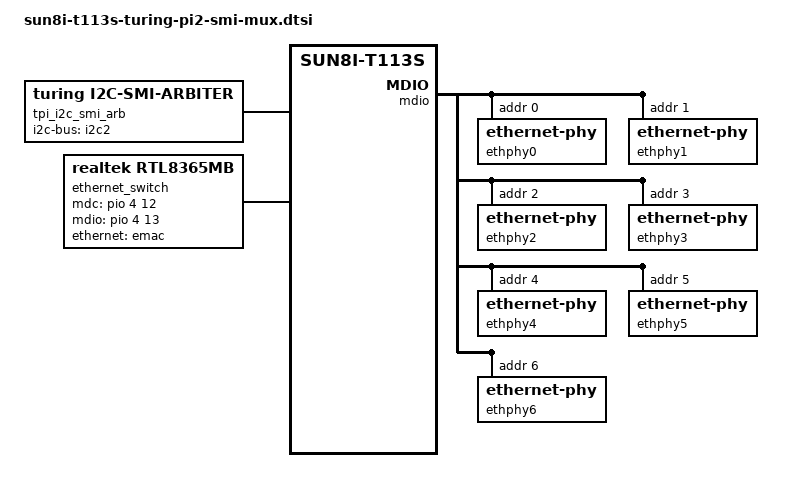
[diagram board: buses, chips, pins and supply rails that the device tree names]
// SPDX-License-Identifier: GPL-2.0+
/*
 * PoC overlay: HW I2C (Profile A) + SMI GPIO bitbang (Profile B) on PE12/PE13.
 *
 * Include from *-smi-mux.dts only — not part of production FIT until validated.
 * See dev-docs/poc-smi-mux-pe12.md
 */

&i2c2 {
	pinctrl-names = "default", "smi_mode";
	/*
	 * Empty state: release the default TWI pinctrl ownership so the SMI
	 * driver can request PE12/PE13 through gpiolib for each transaction.
	 */
	pinctrl-1 = <>;

	/delete-node/ ethernet-switch@5c;
};

/ {
	tpi_i2c_smi_arb: tpi-i2c-smi-arb {
		compatible = "turing,i2c-smi-arbiter";
		i2c-bus = <&i2c2>;
		status = "okay";
	};

	/*
	 * Platform SMI switch (same port map as ethernet-switch@5c in dtsi).
	 * reset-gpios overridden per board rev via &ethernet_switch { } in v2.4/v2.5 dts.
	 */
	ethernet_switch: switch@smi {
		compatible = "realtek,rtl8365mb";
		turing,smi-arbiter = <&tpi_i2c_smi_arb>;

		/* PE12 = SCK, PE13 = SDA (same nets as &i2c2) */
		mdc-gpios = <&pio 4 12 GPIO_ACTIVE_HIGH>;
		mdio-gpios = <&pio 4 13 GPIO_ACTIVE_HIGH>;

		ethernet-ports {
			#address-cells = <1>;
			#size-cells = <0>;

			ethernet-port@0 {
				reg = <0>;
				label = "node1";
				phy-handle = <&ethphy0>;
				phy-mode = "internal";
			};
			ethernet-port@1 {
				reg = <1>;
				label = "node2";
				phy-handle = <&ethphy1>;
				phy-mode = "internal";
			};
			ethernet-port@2 {
				reg = <2>;
				label = "node3";
				phy-handle = <&ethphy2>;
				phy-mode = "internal";
			};
			ethernet-port@3 {
				reg = <3>;
				label = "node4";
				phy-handle = <&ethphy3>;
				phy-mode = "internal";
			};
			ethernet-port@4 {
				reg = <4>;
				label = "cpu";
				ethernet = <&emac>;
				phy-handle = <&ethphy4>;
				phy-mode = "internal";
			};
			ethernet-port@5 {
				reg = <5>;
				label = "ge0";
				phy-handle = <&ethphy5>;
				phy-mode = "internal";
			};
			ethernet-port@6 {
				reg = <6>;
				label = "ge1";
				phy-handle = <&ethphy6>;
				phy-mode = "internal";
			};
		};

		mdio {
			compatible = "realtek,smi-mdio";
			#address-cells = <1>;
			#size-cells = <0>;

			ethphy0: ethernet-phy@0 {
				reg = <0>;
			};
			ethphy1: ethernet-phy@1 {
				reg = <1>;
			};
			ethphy2: ethernet-phy@2 {
				reg = <2>;
			};
			ethphy3: ethernet-phy@3 {
				reg = <3>;
			};
			ethphy4: ethernet-phy@4 {
				reg = <4>;
			};
			ethphy5: ethernet-phy@5 {
				reg = <5>;
			};
			ethphy6: ethernet-phy@6 {
				reg = <6>;
			};
		};
	};
};
